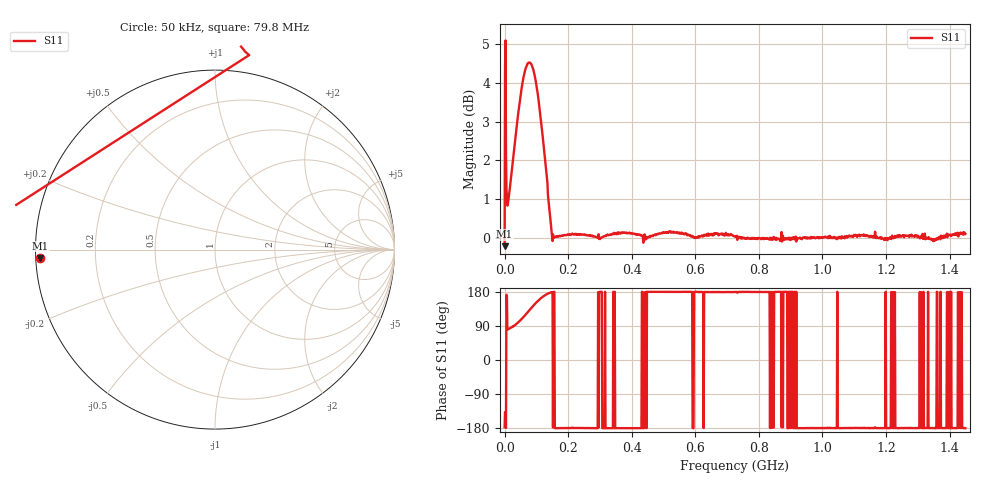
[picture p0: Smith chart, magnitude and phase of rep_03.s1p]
! Created with skrf 1.11.0 (http://scikit-rf.org).
# Hz S RI R 50.0
!freq ReS11 ImS11
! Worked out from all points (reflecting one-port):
!   1001 points, 50 kHz to 1.45 GHz, reference 50 ohm
!   lowest |S11| = -0.2 dB at 50 kHz (marker M1), VSWR 79.37, Z = 0.63 - j1.18 ohm
!   phase of S11 starts at -177 deg and turns -3 deg over the sweep
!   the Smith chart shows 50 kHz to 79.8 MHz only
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50000  -0.974 -0.0461
8749700  0.1906 1.084
1.019965e7  0.1792 1.093
1.16496e7  0.1673 1.104
1.599945e7  0.1347 1.145
2.61491e7  0.017 1.259
3.629875e7  -0.1077 1.367
4.64484e7  -0.3104 1.454
5.51481e7  -0.5243 1.485
6.529775e7  -0.7981 1.444
7.399745e7  -1.019 1.336
8.7047e7  -1.275 1.07
9.28468e7  -1.346 0.9252
9.86466e7  -1.385 0.7766
1.073463e8  -1.391 0.5634
1.17496e8  -1.336 0.3534
1.261956e8  -1.259 0.2138
1.363453e8  -1.132 0.0985
1.43595e8  -1.061 0.0411
1.522948e8  -1.01 -0.034
1.812938e8  -1.006 -0.00578
3.625375e8  -1.013 -0.00341
5.437812e8  -1.016 0.00253
7.25025e8  -1.004 0.00757
9.062688e8  -0.9955 5.3e-05
1.087512e9  -1.003 -0.0143
1.268756e9  -1.005 -0.00755
1.45e9  -1.012 -0.000839
